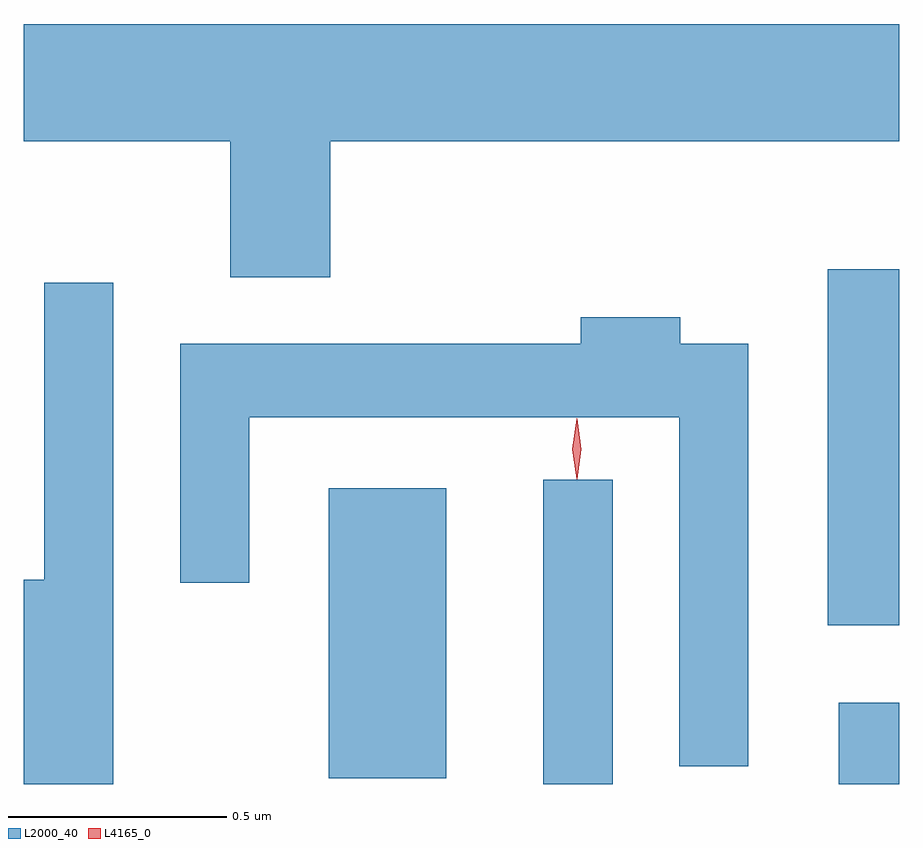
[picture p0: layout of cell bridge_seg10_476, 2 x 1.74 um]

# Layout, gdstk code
import gdstk
lib = gdstk.Library(unit=1e-6, precision=1e-09)
def R(c, l, rs):  # rectangles x0, y0, x1, y1
    for r in rs: c.add(gdstk.rectangle(r[:2], r[2:], *l))
def P(c, l, *ps):  # polygons
    for p in ps: c.add(gdstk.Polygon(p, *l))
L2000_40 = (2000, 40)
L4165_0 = (4165, 0)

bridge_seg10_476 = lib.new_cell('bridge_seg10_476')
R(bridge_seg10_476, L2000_40, [(1429.356,2132.428,1429.514,2133.123), (1430.031,2132.428,1430.169,2132.614), (1428.866,2132.441,1429.134,2133.104), (1430.006,2132.791,1430.169,2133.604)])
P(bridge_seg10_476, L2000_40, [(1428.869,2133.896),(1430.169,2133.896),(1430.169,2134.164),(1428.169,2134.164),(1428.169,2133.896),(1428.641,2133.896),(1428.641,2133.586),(1428.869,2133.586)],
  [(1428.374,2133.573),(1428.216,2133.573),(1428.216,2132.894),(1428.169,2132.894),(1428.169,2132.428),(1428.374,2132.428)],
  [(1429.824,2133.434),(1429.669,2133.434),(1429.669,2133.494),(1429.441,2133.494),(1429.441,2133.434),(1428.526,2133.434),(1428.526,2132.888),(1428.684,2132.888),(1428.684,2133.266),(1429.666,2133.266),(1429.666,2132.468),(1429.824,2132.468)])
P(bridge_seg10_476, L4165_0, [(1429.432,2133.124),(1429.432,2133.124),(1429.422,2133.193),(1429.432,2133.262),(1429.432,2133.263),(1429.433,2133.262),(1429.442,2133.193),(1429.433,2133.124)])

lib.write_gds('bridge_seg10_476.gds')
